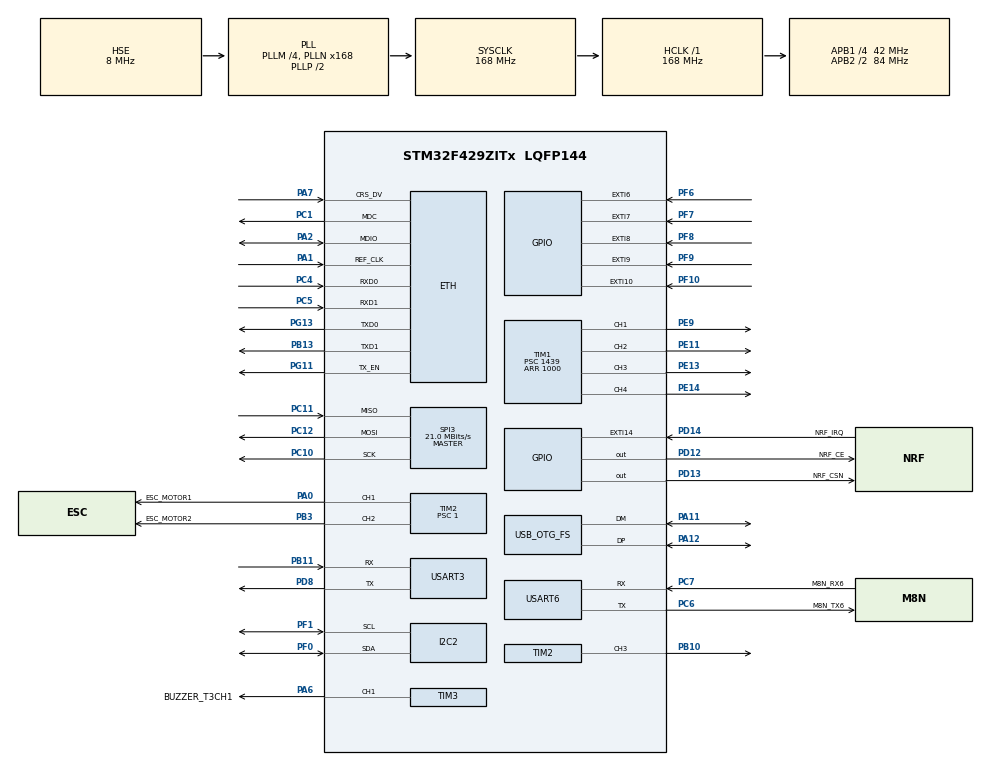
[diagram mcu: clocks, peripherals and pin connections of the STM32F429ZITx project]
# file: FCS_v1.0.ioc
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ETH.MediaInterface=ETH_MEDIA_INTERFACE_RMII
LWIP.GATEWAY_ADDRESS=192.168.000.001
LWIP.IP_ADDRESS=192.168.000.111
LWIP.LWIP_DHCP=0
LWIP.NETMASK_ADDRESS=255.255.255.000
LWIP.Version=v2.1.2_Cube
Mcu.Family=STM32F4
Mcu.Name=STM32F429ZITx
Mcu.Package=LQFP144
NVIC.ETH_IRQn=true\:0\:0\:false\:false\:true\:true\:true
NVIC.ETH_WKUP_IRQn=true\:0\:0\:false\:false\:true\:true\:true
NVIC.OTG_FS_IRQn=true\:0\:0\:false\:false\:true\:false\:true
NVIC.PriorityGroup=NVIC_PRIORITYGROUP_4
NVIC.USART6_IRQn=true\:0\:0\:false\:false\:true\:true\:true
PA0/WKUP.GPIO_Label=ESC_MOTOR1
PA0/WKUP.Signal=S_TIM2_CH1_ETR
PA1.Mode=RMII
PA1.Signal=ETH_REF_CLK
PA11.Mode=Device_Only
PA11.Signal=USB_OTG_FS_DM
PA12.Mode=Device_Only
PA12.Signal=USB_OTG_FS_DP
PA2.Mode=RMII
PA2.Signal=ETH_MDIO
PA6.GPIO_Label=BUZZER_T3CH1
PA6.Signal=S_TIM3_CH1
PA7.Mode=RMII
PA7.Signal=ETH_CRS_DV
PB10.Signal=S_TIM2_CH3
PB11.Mode=Asynchronous
PB11.Signal=USART3_RX
PB13.Mode=RMII
PB13.Signal=ETH_TXD1
PB3.GPIO_Label=ESC_MOTOR2
PB3.Signal=S_TIM2_CH2
PC1.Mode=RMII
PC1.Signal=ETH_MDC
PC10.Mode=Full_Duplex_Master
PC10.Signal=SPI3_SCK
PC11.Mode=Full_Duplex_Master
PC11.Signal=SPI3_MISO
PC12.Mode=Full_Duplex_Master
PC12.Signal=SPI3_MOSI
PC14/OSC32_IN.Mode=LSE-External-Oscillator
PC14/OSC32_IN.Signal=RCC_OSC32_IN
PC15/OSC32_OUT.Mode=LSE-External-Oscillator
PC15/OSC32_OUT.Signal=RCC_OSC32_OUT
PC4.Mode=RMII
PC4.Signal=ETH_RXD0
PC5.Mode=RMII
PC5.Signal=ETH_RXD1
PC6.GPIO_Label=M8N_TX6
PC6.Mode=Asynchronous
PC6.Signal=USART6_TX
PC7.GPIO_Label=M8N_RX6
PC7.Mode=Asynchronous
PC7.Signal=USART6_RX
PD12.GPIO_Label=NRF_CE
PD12.Signal=GPIO_Output
PD13.GPIO_Label=NRF_CSN
PD13.Signal=GPIO_Output
PD14.GPIO_Label=NRF_IRQ
PD14.Signal=GPXTI14
PD8.Mode=Asynchronous
PD8.Signal=USART3_TX
PE11.Signal=S_TIM1_CH2
PE13.Signal=S_TIM1_CH3
PE14.Signal=S_TIM1_CH4
PE9.Signal=S_TIM1_CH1
PF0.Mode=I2C
PF0.Signal=I2C2_SDA
PF1.Mode=I2C
PF1.Signal=I2C2_SCL
PF10.Signal=GPXTI10
PF6.Signal=GPXTI6
PF7.Signal=GPXTI7
PF8.Signal=GPXTI8
PF9.Signal=GPXTI9
PG11.Mode=RMII
PG11.Signal=ETH_TX_EN
PG13.Mode=RMII
PG13.Signal=ETH_TXD0
PH0/OSC_IN.Mode=HSE-External-Oscillator
PH0/OSC_IN.Signal=RCC_OSC_IN
PH1/OSC_OUT.Mode=HSE-External-Oscillator
PH1/OSC_OUT.Signal=RCC_OSC_OUT
ProjectManager.HeapSize=0x200
ProjectManager.StackSize=0x400
ProjectManager.TargetToolchain=STM32CubeIDE
RCC.48MHZClocksFreq_Value=48000000
RCC.AHBFreq_Value=168000000
RCC.APB1CLKDivider=RCC_HCLK_DIV4
RCC.APB1Freq_Value=42000000
RCC.APB1TimFreq_Value=84000000
RCC.APB2CLKDivider=RCC_HCLK_DIV2
RCC.APB2Freq_Value=84000000
RCC.APB2TimFreq_Value=168000000
RCC.CortexFreq_Value=168000000
RCC.HCLKFreq_Value=168000000
RCC.HSE_VALUE=8000000
RCC.HSI_VALUE=16000000
RCC.PLLM=4
RCC.PLLMUL=RCC_PLL_MUL9
RCC.PLLN=168
RCC.PLLQ=7
RCC.PRESCALERUSB=RCC_USBCLKSOURCE_PLL_DIV1_5
RCC.SYSCLKFreq_VALUE=168000000
RCC.SYSCLKSource=RCC_SYSCLKSOURCE_PLLCLK
RCC.SYSCLKSourceVirtual=RCC_SYSCLKSOURCE_PLLCLK
RCC.USBFreq_Value=48000000
RCC.VCOOutputFreq_Value=336000000
SH.S_TIM1_CH1.0=TIM1_CH1,PWM Generation1 CH1
SH.S_TIM1_CH2.0=TIM1_CH2,PWM Generation2 CH2
SH.S_TIM1_CH3.0=TIM1_CH3,PWM Generation3 CH3
SH.S_TIM1_CH4.0=TIM1_CH4,PWM Generation4 CH4
SH.S_TIM2_CH1_ETR.0=TIM2_CH1,PWM Generation1 CH1
SH.S_TIM2_CH2.0=TIM2_CH2,PWM Generation2 CH2
SH.S_TIM2_CH3.0=TIM2_CH3,PWM Generation3 CH3
SH.S_TIM3_CH1.0=TIM3_CH1,PWM Generation1 CH1
SPI3.CalculateBaudRate=21.0 MBits/s
SPI3.Direction=SPI_DIRECTION_2LINES
SPI3.Mode=SPI_MODE_MASTER
SPI3.VirtualType=VM_MASTER
TIM1.AutoReloadPreload=TIM_AUTORELOAD_PRELOAD_DISABLE
TIM1.Channel-PWM\ Generation1\ CH1=TIM_CHANNEL_1
TIM1.Channel-PWM\ Generation2\ CH2=TIM_CHANNEL_2
TIM1.Channel-PWM\ Generation3\ CH3=TIM_CHANNEL_3
TIM1.Channel-PWM\ Generation4\ CH4=TIM_CHANNEL_4
TIM1.OCMode_PWM-PWM\ Generation2\ CH2=TIM_OCMODE_PWM1
TIM1.Period=1000
TIM1.Prescaler=1439
TIM1.RepetitionCounter=0
TIM2.AutoReloadPreload=TIM_AUTORELOAD_PRELOAD_ENABLE
TIM2.Channel-PWM\ Generation1\ CH1=TIM_CHANNEL_1
TIM2.Channel-PWM\ Generation2\ CH2=TIM_CHANNEL_2
TIM2.Channel-PWM\ Generation3\ CH3=TIM_CHANNEL_3
TIM2.OCFastMode_PWM-PWM\ Generation1\ CH1=TIM_OCFAST_ENABLE
TIM2.OCFastMode_PWM-PWM\ Generation2\ CH2=TIM_OCFAST_ENABLE
TIM2.Period=42000-1
TIM2.Prescaler=1
TIM3.Channel-PWM\ Generation1\ CH1=TIM_CHANNEL_1
TIM3.Period=21
TIM3.Prescaler=1000
TIM3.Pulse-PWM\ Generation1\ CH1=10
USART3.VirtualMode=VM_ASYNC
USART6.VirtualMode=VM_ASYNC
USB_DEVICE.CLASS_NAME_FS=CDC
USB_DEVICE.MANUFACTURER_STRING-CDC_FS=FCS
USB_DEVICE.PID_CDC_FS=41
USB_DEVICE.PRODUCT_STRING_CDC_FS=FCS_USB
USB_DEVICE.VID-CDC_FS=9025
USB_DEVICE.VirtualMode-CDC_FS=Cdc
USB_DEVICE.VirtualModeFS=Cdc_FS
USB_OTG_FS.VirtualMode=Device_Only
VP_LWIP_VS_Enabled.Mode=Enabled
VP_TIM1_VS_ClockSourceINT.Mode=Internal
VP_TIM2_VS_ClockSourceINT.Mode=Internal
VP_TIM3_VS_ClockSourceINT.Mode=Internal
VP_USB_DEVICE_VS_USB_DEVICE_CDC_FS.Mode=CDC_FS
board=NUCLEO-F429ZI

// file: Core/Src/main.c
/* USER CODE BEGIN Header */
/**
  ******************************************************************************
  * @file           : main.c
  * @brief          : Main program body
  ******************************************************************************
  * @attention
  *
  * Copyright (c) 2022 STMicroelectronics.
  * All rights reserved.
  *
  * This software is licensed under terms that can be found in the LICENSE file
  * in the root directory of this software component.
  * If no LICENSE file comes with this software, it is provided AS-IS.
  *
  ******************************************************************************
  */
/* USER CODE END Header */
#include "main.h"
#include "lwip.h"
#include "usb_device.h"

/* USER CODE BEGIN Includes */
#include "math.h"
#include "string.h"
#include "usbd_cdc_if.h"
#include "RtosTcpServer.h"

/*
 * Sensors
 */
#include "mpu6050.h"
#include "neo_m8n_gps.h"

#include "quaternion_calculator.h"

/* USER CODE END Includes */

/* USER CODE BEGIN PTD */
struct netif gnetif;
/* USER CODE END PTD */

I2C_HandleTypeDef hi2c2;

SPI_HandleTypeDef hspi3;

TIM_HandleTypeDef htim1;
TIM_HandleTypeDef htim2;
TIM_HandleTypeDef htim3;

UART_HandleTypeDef huart3;
UART_HandleTypeDef huart6;

/* USER CODE BEGIN PV */

uint32_t mainDELAY_LOOP_COUNT = 5000;

/* USER CODE END PV */

void SystemClock_Config(void);
static void MX_GPIO_Init(void);
static void MX_I2C2_Init(void);
static void MX_TIM1_Init(void);
static void MX_USART3_UART_Init(void);
static void MX_SPI3_Init(void);
static void MX_USART6_UART_Init(void);
static void MX_TIM2_Init(void);
static void MX_TIM3_Init(void);
/* USER CODE BEGIN PFP */

void TCP_Client_Task( void *pvParameters );
void Radio_Task(void *pvParameters );
void MotorControl_Task(void *pvParameters );			/*Speed and Position Control*/
void FlightControlSystems_Task(void *pvParameters );	/*Sensor fusion (IMU + Pressure + Temp)
															+ Control systems algorithm*/

void vPrintString(uint8_t *string[]);

void runRadio(void);

void ring_buzzer(void);
/* USER CODE END PFP */

/* USER CODE BEGIN 0 */

float sum = 0;
uint32_t sumCount = 0;
static imu_datalar imu;

// parameters for 6 DoF sensor fusion calculations
#define PI 3.14159265358979323846f
float GyroMeasError = PI * (60.0f / 180.0f);     // gyroscope measurement error in rads/s (start at 60 deg/s), then reduce after ~10 s to 3
float beta = sqrt(3.0f / 4.0f) * (PI * (60.0f / 180.0f));  // compute beta
float GyroMeasDrift = PI * (1.0f / 180.0f);      // gyroscope measurement drift in rad/s/s (start at 0.0 deg/s/s)
float zeta = sqrt(3.0f / 4.0f) * (PI * (1.0f / 180.0f));  // compute zeta, the other free parameter in the Madgwick scheme usually set to a small or zero value
float pitch, yaw, roll;
float deltat = 0.0f;                              // integration interval for both filter schemes
int lastUpdate = 0, firstUpdate = 0, Now = 0;     // used to calculate integration interval                               // used to calculate integration interval
float q[4] = {1.0f, 0.0f, 0.0f, 0.0f};            // vector to hold quaternion

/* USER CODE END 0 */

int main(void)
{

  /* MCU Configuration--------------------------------------------------------*/

  /* Reset of all peripherals, Initializes the Flash interface and the Systick. */
  HAL_Init();

  /* Configure the system clock */
  SystemClock_Config();

  /* Initialize all configured peripherals */
  MX_GPIO_Init();
  MX_I2C2_Init();
  MX_USB_DEVICE_Init();
  MX_LWIP_Init();
  MX_TIM1_Init();
  MX_USART3_UART_Init();
  MX_SPI3_Init();
  MX_USART6_UART_Init();
  MX_TIM2_Init();
  MX_TIM3_Init();
  /* USER CODE BEGIN 2 */
  HAL_TIM_PWM_Start(&htim1, TIM_CHANNEL_1);

  /*---SENSOR INITIALIZATION---*/
  mpu6050_init();
  //m8n_ubx_init();

  /* USER CODE END 2 */

  /* Infinite loop */
  /* USER CODE BEGIN WHILE */

  /*---RTOS SECTİON---*/
  //DWT->CTRL |= (1 << 0); //Data Wach icin register aktif edildi.
  //SEGGER_SYSVIEW_Conf();
  //vSetVarulMaxPRIGROUPValue();
  //SEGGER_SYSVIEW_Start();

  //xTaskCreate( TCP_Client_Task, "TCP_Client_Task", 1000, NULL, 1, NULL );
  //xTaskCreate( Radio_Task, "Radio_Task", 1000, NULL, 1, NULL );
  //xTaskCreate( MotorControl_Task, "MotorControl_Task", 1000, NULL, 1, NULL );
  //xTaskCreate( FlightControlSystems_Task, "FlightControlSystems_Task", 1000, NULL, 1, NULL );

  //vTaskStartScheduler();

  while (1)
  {

	//ethernetif_input(&gnetif);
	//sys_check_timeouts();
	//Read_commands(); //get referance signals (ph,theta,r)
	//İmplement control signals
	//control_start();
	//HAL_Delay(100);
	//udpClient_send();

	//SEt control loop frequency

	Now  = HAL_GetTick(); // Milisaniye cinsinden zamanı verir. 1 saniye = 1000ms.
	deltat = (float)(Now-lastUpdate)/1000;
	lastUpdate = Now;

    sum += deltat;
    sumCount++;

    if(lastUpdate - firstUpdate > 10000000.0f) {
     beta = 0.04;  // decrease filter gain after stabilized
     zeta = 0.015; // increasey bias drift gain after stabilized
    }

	//ring_buzzer();
	//Log data onto SD card
	//log_data();
	//runRadio();

    get_Imu(&imu);
    MadgwickQuaternionUpdate(imu.ax, imu.ay,imu.az, imu.gx*PI/180.0f, imu.gy*PI/180.0f, imu.gz*PI/180.0f, deltat,zeta,beta);

    /* USER CODE END WHILE */

    /* USER CODE BEGIN 3 */

    sum = 0;
    sumCount = 0;
  }
  /* USER CODE END 3 */
}

void SystemClock_Config(void)
{
  RCC_OscInitTypeDef RCC_OscInitStruct = {0};
  RCC_ClkInitTypeDef RCC_ClkInitStruct = {0};

  /** Configure the main internal regulator output voltage
  */
  __HAL_RCC_PWR_CLK_ENABLE();
  __HAL_PWR_VOLTAGESCALING_CONFIG(PWR_REGULATOR_VOLTAGE_SCALE1);
  /** Initializes the RCC Oscillators according to the specified parameters
  * in the RCC_OscInitTypeDef structure.
  */
  RCC_OscInitStruct.OscillatorType = RCC_OSCILLATORTYPE_HSE;
  RCC_OscInitStruct.HSEState = RCC_HSE_ON;
  RCC_OscInitStruct.PLL.PLLState = RCC_PLL_ON;
  RCC_OscInitStruct.PLL.PLLSource = RCC_PLLSOURCE_HSE;
  RCC_OscInitStruct.PLL.PLLM = 4;
  RCC_OscInitStruct.PLL.PLLN = 168;
  RCC_OscInitStruct.PLL.PLLP = RCC_PLLP_DIV2;
  RCC_OscInitStruct.PLL.PLLQ = 7;
  if (HAL_RCC_OscConfig(&RCC_OscInitStruct) != HAL_OK)
  {
    Error_Handler();
  }
  /** Initializes the CPU, AHB and APB buses clocks
  */
  RCC_ClkInitStruct.ClockType = RCC_CLOCKTYPE_HCLK|RCC_CLOCKTYPE_SYSCLK
                              |RCC_CLOCKTYPE_PCLK1|RCC_CLOCKTYPE_PCLK2;
  RCC_ClkInitStruct.SYSCLKSource = RCC_SYSCLKSOURCE_PLLCLK;
  RCC_ClkInitStruct.AHBCLKDivider = RCC_SYSCLK_DIV1;
  RCC_ClkInitStruct.APB1CLKDivider = RCC_HCLK_DIV4;
  RCC_ClkInitStruct.APB2CLKDivider = RCC_HCLK_DIV2;

  if (HAL_RCC_ClockConfig(&RCC_ClkInitStruct, FLASH_LATENCY_5) != HAL_OK)
  {
    Error_Handler();
  }
}

static void MX_I2C2_Init(void)
{

  hi2c2.Instance = I2C2;
  hi2c2.Init.ClockSpeed = 100000;
  hi2c2.Init.DutyCycle = I2C_DUTYCYCLE_2;
  hi2c2.Init.OwnAddress1 = 0;
  hi2c2.Init.AddressingMode = I2C_ADDRESSINGMODE_7BIT;
  hi2c2.Init.DualAddressMode = I2C_DUALADDRESS_DISABLE;
  hi2c2.Init.OwnAddress2 = 0;
  hi2c2.Init.GeneralCallMode = I2C_GENERALCALL_DISABLE;
  hi2c2.Init.NoStretchMode = I2C_NOSTRETCH_DISABLE;
  if (HAL_I2C_Init(&hi2c2) != HAL_OK)
  {
    Error_Handler();
  }
  /** Configure Analogue filter
  */
  if (HAL_I2CEx_ConfigAnalogFilter(&hi2c2, I2C_ANALOGFILTER_ENABLE) != HAL_OK)
  {
    Error_Handler();
  }
  /** Configure Digital filter
  */
  if (HAL_I2CEx_ConfigDigitalFilter(&hi2c2, 0) != HAL_OK)
  {
    Error_Handler();
  }

}

static void MX_SPI3_Init(void)
{

  /* SPI3 parameter configuration*/
  hspi3.Instance = SPI3;
  hspi3.Init.Mode = SPI_MODE_MASTER;
  hspi3.Init.Direction = SPI_DIRECTION_2LINES;
  hspi3.Init.DataSize = SPI_DATASIZE_8BIT;
  hspi3.Init.CLKPolarity = SPI_POLARITY_LOW;
  hspi3.Init.CLKPhase = SPI_PHASE_1EDGE;
  hspi3.Init.NSS = SPI_NSS_SOFT;
  hspi3.Init.BaudRatePrescaler = SPI_BAUDRATEPRESCALER_2;
  hspi3.Init.FirstBit = SPI_FIRSTBIT_MSB;
  hspi3.Init.TIMode = SPI_TIMODE_DISABLE;
  hspi3.Init.CRCCalculation = SPI_CRCCALCULATION_DISABLE;
  hspi3.Init.CRCPolynomial = 10;
  if (HAL_SPI_Init(&hspi3) != HAL_OK)
  {
    Error_Handler();
  }

}

static void MX_TIM1_Init(void)
{

  TIM_ClockConfigTypeDef sClockSourceConfig = {0};
  TIM_MasterConfigTypeDef sMasterConfig = {0};
  TIM_OC_InitTypeDef sConfigOC = {0};
  TIM_BreakDeadTimeConfigTypeDef sBreakDeadTimeConfig = {0};

  htim1.Instance = TIM1;
  htim1.Init.Prescaler = 1439;
  htim1.Init.CounterMode = TIM_COUNTERMODE_UP;
  htim1.Init.Period = 1000;
  htim1.Init.ClockDivision = TIM_CLOCKDIVISION_DIV1;
  htim1.Init.RepetitionCounter = 0;
  htim1.Init.AutoReloadPreload = TIM_AUTORELOAD_PRELOAD_DISABLE;
  if (HAL_TIM_Base_Init(&htim1) != HAL_OK)
  {
    Error_Handler();
  }
  sClockSourceConfig.ClockSource = TIM_CLOCKSOURCE_INTERNAL;
  if (HAL_TIM_ConfigClockSource(&htim1, &sClockSourceConfig) != HAL_OK)
  {
    Error_Handler();
  }
  if (HAL_TIM_PWM_Init(&htim1) != HAL_OK)
  {
    Error_Handler();
  }
  sMasterConfig.MasterOutputTrigger = TIM_TRGO_RESET;
  sMasterConfig.MasterSlaveMode = TIM_MASTERSLAVEMODE_DISABLE;
  if (HAL_TIMEx_MasterConfigSynchronization(&htim1, &sMasterConfig) != HAL_OK)
  {
    Error_Handler();
  }
  sConfigOC.OCMode = TIM_OCMODE_PWM1;
  sConfigOC.Pulse = 0;
  sConfigOC.OCPolarity = TIM_OCPOLARITY_HIGH;
  sConfigOC.OCNPolarity = TIM_OCNPOLARITY_HIGH;
  sConfigOC.OCFastMode = TIM_OCFAST_DISABLE;
  sConfigOC.OCIdleState = TIM_OCIDLESTATE_RESET;
  sConfigOC.OCNIdleState = TIM_OCNIDLESTATE_RESET;
  if (HAL_TIM_PWM_ConfigChannel(&htim1, &sConfigOC, TIM_CHANNEL_1) != HAL_OK)
  {
    Error_Handler();
  }
  if (HAL_TIM_PWM_ConfigChannel(&htim1, &sConfigOC, TIM_CHANNEL_2) != HAL_OK)
  {
    Error_Handler();
  }
  if (HAL_TIM_PWM_ConfigChannel(&htim1, &sConfigOC, TIM_CHANNEL_3) != HAL_OK)
  {
    Error_Handler();
  }
  if (HAL_TIM_PWM_ConfigChannel(&htim1, &sConfigOC, TIM_CHANNEL_4) != HAL_OK)
  {
    Error_Handler();
  }
  sBreakDeadTimeConfig.OffStateRunMode = TIM_OSSR_DISABLE;
  sBreakDeadTimeConfig.OffStateIDLEMode = TIM_OSSI_DISABLE;
  sBreakDeadTimeConfig.LockLevel = TIM_LOCKLEVEL_OFF;
  sBreakDeadTimeConfig.DeadTime = 0;
  sBreakDeadTimeConfig.BreakState = TIM_BREAK_DISABLE;
  sBreakDeadTimeConfig.BreakPolarity = TIM_BREAKPOLARITY_HIGH;
  sBreakDeadTimeConfig.AutomaticOutput = TIM_AUTOMATICOUTPUT_DISABLE;
  if (HAL_TIMEx_ConfigBreakDeadTime(&htim1, &sBreakDeadTimeConfig) != HAL_OK)
  {
    Error_Handler();
  }
  HAL_TIM_MspPostInit(&htim1);

}

static void MX_TIM2_Init(void)
{

  TIM_ClockConfigTypeDef sClockSourceConfig = {0};
  TIM_MasterConfigTypeDef sMasterConfig = {0};
  TIM_OC_InitTypeDef sConfigOC = {0};

  htim2.Instance = TIM2;
  htim2.Init.Prescaler = 1;
  htim2.Init.CounterMode = TIM_COUNTERMODE_UP;
  htim2.Init.Period = 42000-1;
  htim2.Init.ClockDivision = TIM_CLOCKDIVISION_DIV1;
  htim2.Init.AutoReloadPreload = TIM_AUTORELOAD_PRELOAD_ENABLE;
  if (HAL_TIM_Base_Init(&htim2) != HAL_OK)
  {
    Error_Handler();
  }
  sClockSourceConfig.ClockSource = TIM_CLOCKSOURCE_INTERNAL;
  if (HAL_TIM_ConfigClockSource(&htim2, &sClockSourceConfig) != HAL_OK)
  {
    Error_Handler();
  }
  if (HAL_TIM_PWM_Init(&htim2) != HAL_OK)
  {
    Error_Handler();
  }
  sMasterConfig.MasterOutputTrigger = TIM_TRGO_RESET;
  sMasterConfig.MasterSlaveMode = TIM_MASTERSLAVEMODE_DISABLE;
  if (HAL_TIMEx_MasterConfigSynchronization(&htim2, &sMasterConfig) != HAL_OK)
  {
    Error_Handler();
  }
  sConfigOC.OCMode = TIM_OCMODE_PWM1;
  sConfigOC.Pulse = 0;
  sConfigOC.OCPolarity = TIM_OCPOLARITY_HIGH;
  sConfigOC.OCFastMode = TIM_OCFAST_ENABLE;
  if (HAL_TIM_PWM_ConfigChannel(&htim2, &sConfigOC, TIM_CHANNEL_1) != HAL_OK)
  {
    Error_Handler();
  }
  if (HAL_TIM_PWM_ConfigChannel(&htim2, &sConfigOC, TIM_CHANNEL_2) != HAL_OK)
  {
    Error_Handler();
  }
  sConfigOC.OCFastMode = TIM_OCFAST_DISABLE;
  if (HAL_TIM_PWM_ConfigChannel(&htim2, &sConfigOC, TIM_CHANNEL_3) != HAL_OK)
  {
    Error_Handler();
  }
  HAL_TIM_MspPostInit(&htim2);

}

static void MX_TIM3_Init(void)
{

  TIM_ClockConfigTypeDef sClockSourceConfig = {0};
  TIM_MasterConfigTypeDef sMasterConfig = {0};
  TIM_OC_InitTypeDef sConfigOC = {0};

  htim3.Instance = TIM3;
  htim3.Init.Prescaler = 1000;
  htim3.Init.CounterMode = TIM_COUNTERMODE_UP;
  htim3.Init.Period = 21;
  htim3.Init.ClockDivision = TIM_CLOCKDIVISION_DIV1;
  htim3.Init.AutoReloadPreload = TIM_AUTORELOAD_PRELOAD_DISABLE;
  if (HAL_TIM_Base_Init(&htim3) != HAL_OK)
  {
    Error_Handler();
  }
  sClockSourceConfig.ClockSource = TIM_CLOCKSOURCE_INTERNAL;
  if (HAL_TIM_ConfigClockSource(&htim3, &sClockSourceConfig) != HAL_OK)
  {
    Error_Handler();
  }
  if (HAL_TIM_PWM_Init(&htim3) != HAL_OK)
  {
    Error_Handler();
  }
  sMasterConfig.MasterOutputTrigger = TIM_TRGO_RESET;
  sMasterConfig.MasterSlaveMode = TIM_MASTERSLAVEMODE_DISABLE;
  if (HAL_TIMEx_MasterConfigSynchronization(&htim3, &sMasterConfig) != HAL_OK)
  {
    Error_Handler();
  }
  sConfigOC.OCMode = TIM_OCMODE_PWM1;
  sConfigOC.Pulse = 10;
  sConfigOC.OCPolarity = TIM_OCPOLARITY_HIGH;
  sConfigOC.OCFastMode = TIM_OCFAST_DISABLE;
  if (HAL_TIM_PWM_ConfigChannel(&htim3, &sConfigOC, TIM_CHANNEL_1) != HAL_OK)
  {
    Error_Handler();
  }
  HAL_TIM_MspPostInit(&htim3);

}

static void MX_USART3_UART_Init(void)
{

  huart3.Instance = USART3;
  huart3.Init.BaudRate = 115200;
  huart3.Init.WordLength = UART_WORDLENGTH_8B;
  huart3.Init.StopBits = UART_STOPBITS_1;
  huart3.Init.Parity = UART_PARITY_NONE;
  huart3.Init.Mode = UART_MODE_TX_RX;
  huart3.Init.HwFlowCtl = UART_HWCONTROL_NONE;
  huart3.Init.OverSampling = UART_OVERSAMPLING_16;
  if (HAL_UART_Init(&huart3) != HAL_OK)
  {
    Error_Handler();
  }

}

static void MX_USART6_UART_Init(void)
{

  huart6.Instance = USART6;
  huart6.Init.BaudRate = 115200;
  huart6.Init.WordLength = UART_WORDLENGTH_8B;
  huart6.Init.StopBits = UART_STOPBITS_1;
  huart6.Init.Parity = UART_PARITY_NONE;
  huart6.Init.Mode = UART_MODE_TX_RX;
  huart6.Init.HwFlowCtl = UART_HWCONTROL_NONE;
  huart6.Init.OverSampling = UART_OVERSAMPLING_16;
  if (HAL_UART_Init(&huart6) != HAL_OK)
  {
    Error_Handler();
  }

}

static void MX_GPIO_Init(void)
{
  GPIO_InitTypeDef GPIO_InitStruct = {0};

  /* GPIO Ports Clock Enable */
  __HAL_RCC_GPIOC_CLK_ENABLE();
  __HAL_RCC_GPIOF_CLK_ENABLE();
  __HAL_RCC_GPIOH_CLK_ENABLE();
  __HAL_RCC_GPIOA_CLK_ENABLE();
  __HAL_RCC_GPIOE_CLK_ENABLE();
  __HAL_RCC_GPIOB_CLK_ENABLE();
  __HAL_RCC_GPIOD_CLK_ENABLE();
  __HAL_RCC_GPIOG_CLK_ENABLE();

  /*Configure GPIO pin Output Level */
  HAL_GPIO_WritePin(GPIOD, NRF_CE_Pin|NRF_CSN_Pin, GPIO_PIN_RESET);

  /*Configure GPIO pins : PF6 PF7 PF8 PF9
                           PF10 */
  GPIO_InitStruct.Pin = GPIO_PIN_6|GPIO_PIN_7|GPIO_PIN_8|GPIO_PIN_9
                          |GPIO_PIN_10;
  GPIO_InitStruct.Mode = GPIO_MODE_IT_RISING;
  GPIO_InitStruct.Pull = GPIO_NOPULL;
  HAL_GPIO_Init(GPIOF, &GPIO_InitStruct);

  /*Configure GPIO pins : NRF_CE_Pin NRF_CSN_Pin */
  GPIO_InitStruct.Pin = NRF_CE_Pin|NRF_CSN_Pin;
  GPIO_InitStruct.Mode = GPIO_MODE_OUTPUT_PP;
  GPIO_InitStruct.Pull = GPIO_NOPULL;
  GPIO_InitStruct.Speed = GPIO_SPEED_FREQ_LOW;
  HAL_GPIO_Init(GPIOD, &GPIO_InitStruct);

  /*Configure GPIO pin : NRF_IRQ_Pin */
  GPIO_InitStruct.Pin = NRF_IRQ_Pin;
  GPIO_InitStruct.Mode = GPIO_MODE_IT_RISING;
  GPIO_InitStruct.Pull = GPIO_NOPULL;
  HAL_GPIO_Init(NRF_IRQ_GPIO_Port, &GPIO_InitStruct);

}

/* USER CODE BEGIN 4 */
void TCP_Client_Task( void *pvParameters )
{
const char *pcTaskName = "TCP_Client_Task is running\r\n";
volatile uint32_t ul; /* volatile to ensure ul is not optimized away. */
/* As per most tasks, this task is implemented in an infinite loop. */
/* init code for USB_DEVICE */

	MX_USB_DEVICE_Init();

	/* init code for LWIP */
	MX_LWIP_Init();

	/* Create tcp_ip stack thread */
	tcpip_init( NULL, NULL );

	/* Initialize tcp echo server */
	//tcpecho_init();
	//tcpserver_init();
	tcpclient_init();

	for( ;; )
	{
	/* Print out the name of this task. */
			vPrintString(pcTaskName);
			/* Delay for a period. */
			for( ul = 0; ul < mainDELAY_LOOP_COUNT; ul++ )
			{
			/* This loop is just a very crude delay implementation. There is
			nothing to do in here. Later examples will replace this crude
			loop with a proper delay/sleep function. */
			}
	}
}

void Radio_Task(void *pvParameters ){
	const char *pcTaskName = "Radio_Task is running\r\n";
	volatile uint32_t ul;
	for( ;; )
	{
	/* Print out the name of this task. */
			vPrintString(pcTaskName);
			/* Delay for a period. */
			for( ul = 0; ul < mainDELAY_LOOP_COUNT; ul++ )
			{
			/* This loop is just a very crude delay implementation. There is
			nothing to do in here. Later examples will replace this crude
			loop with a proper delay/sleep function. */
			}
	}
}

void MotorControl_Task(void *pvParameters ){
	const char *pcTaskName = "MotorControl_Task is running\r\n";
	volatile uint32_t ul;
	for( ;; )
	{
	/* Print out the name of this task. */
			vPrintString(pcTaskName);
			/* Delay for a period. */
			for( ul = 0; ul < mainDELAY_LOOP_COUNT; ul++ )
			{
			/* This loop is just a very crude delay implementation. There is
			nothing to do in here. Later examples will replace this crude
			loop with a proper delay/sleep function. */
			}
	}
}

void FlightControlSystems_Task(void *pvParameters ){
	const char *pcTaskName = "FlightControlSystems_Task is running\r\n";
	volatile uint32_t ul;

	for( ;; )
	{
	/* Print out the name of this task. */
			vPrintString(pcTaskName);
			/* Delay for a period. */
			for( ul = 0; ul < mainDELAY_LOOP_COUNT; ul++ )
			{
			/* This loop is just a very crude delay implementation. There is
			nothing to do in here. Later examples will replace this crude
			loop with a proper delay/sleep function. */
			}
	}

}

void vPrintString(uint8_t *string[]){

	//HAL_UART_Transmit(&huart5, string, strlen(string), HAL_MAX_DELAY);
}

void ring_buzzer(void){

	htim3.Instance->PSC = 2000;
	HAL_Delay(100);
	htim3.Instance->PSC = 1500;
	HAL_Delay(100);
	htim3.Instance->PSC = 1000;
	HAL_Delay(100);

}

/* USER CODE END 4 */

void Error_Handler(void)
{
  __disable_irq();
  while (1)
  {
  }
}
